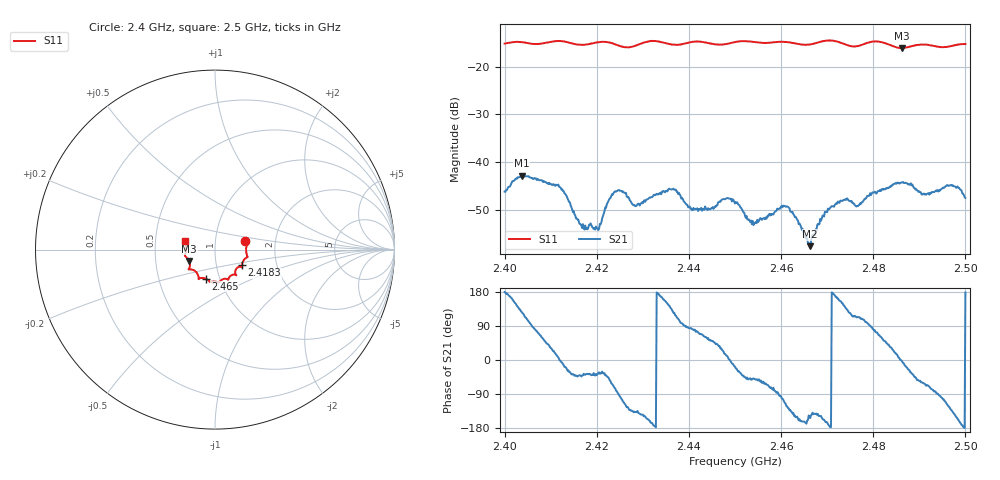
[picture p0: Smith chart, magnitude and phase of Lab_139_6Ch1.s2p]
# Hz S RI R 50
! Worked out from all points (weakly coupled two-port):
!   601 points, 2.4 GHz to 2.5 GHz, reference 50 ohm
!   highest |S21| = -42.85 dB at 2.4037 GHz (marker M1); lowest = -57.6 dB at 2.4663 GHz (marker M2)
!   lowest |S11| = -16.1 dB at 2.4862 GHz (marker M3), VSWR 1.37, Z = 37.2 - j4.85 ohm
!   |S11| at or under -10 dB: start of sweep to end of sweep
!   S12 and S22 are empty: the file has one direction only
!   S11 on the Smith chart (normalised r, x): 2.4 GHz: 1.40, +0.13; 2.4183 GHz: 1.33, -0.24; 2.465 GHz: 0.86, -0.29; 2.5 GHz: 0.71, +0.07
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2.4e9  0.1682 0.0467  -0.00489 5.98e-05  0 0  0 0
2.403667e9  0.1789 0.0289  -0.00432 0.00577  0 0  0 0
2.411667e9  0.1819 -0.0404  0.00576 0.000692  0 0  0 0
2.416667e9  0.1552 -0.0679  0.00156 -0.00148  0 0  0 0
2.418333e9  0.1499 -0.0866  0.00173 -0.00135  0 0  0 0
2.4205e9  0.1511 -0.0996  0.00168 -0.00108  0 0  0 0
2.424333e9  0.1402 -0.0951  0.00065 -0.00491  0 0  0 0
2.428333e9  0.1131 -0.1213  -0.00254 -0.00233  0 0  0 0
2.433333e9  0.1176 -0.1416  -0.00455 0.000488  0 0  0 0
2.437e9  0.0908 -0.1433  -0.00244 0.00451  0 0  0 0
2.440833e9  0.0746 -0.1668  0.0005 0.00309  0 0  0 0
2.45e9  0.0257 -0.1798  0.00351 -0.0011  0 0  0 0
2.454167e9  0.0135 -0.181  0.00146 -0.0017  0 0  0 0
2.461333e9  -0.0305 -0.1786  -0.00185 -0.00288  0 0  0 0
2.465e9  -0.0523 -0.1617  -0.00159 -0.000508  0 0  0 0
2.466333e9  -0.0672 -0.1577  -0.00117 -0.000595  0 0  0 0
2.466667e9  -0.0707 -0.1575  -0.00135 -0.000982  0 0  0 0
2.470667e9  -0.0913 -0.1648  -0.00332 -0.000137  0 0  0 0
2.483333e9  -0.1411 -0.0966  0.00406 0.00346  0 0  0 0
2.486167e9  -0.1432 -0.0636  0.00613 -0.000191  0 0  0 0
2.497167e9  -0.1631 0.0285  -0.00402 -0.00393  0 0  0 0
2.5e9  -0.1662 0.0475  -0.00419 0.000127  0 0  0 0
